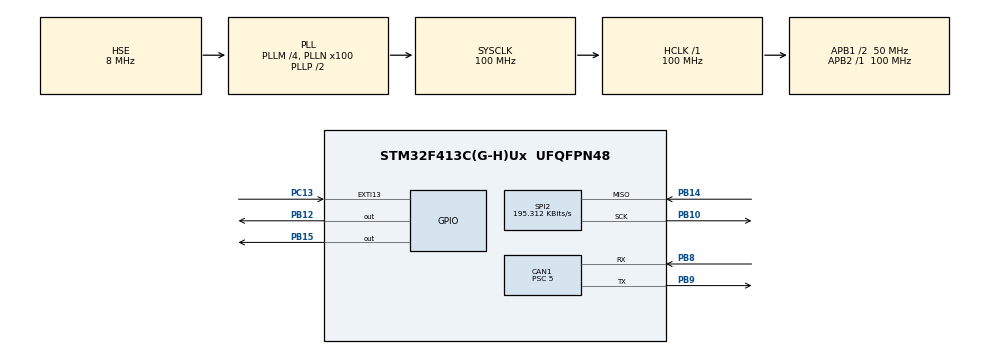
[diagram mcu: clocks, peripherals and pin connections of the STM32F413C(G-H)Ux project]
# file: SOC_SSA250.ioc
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CAN1.ABOM=ENABLE
CAN1.AWUM=DISABLE
CAN1.BS1=CAN_BS1_15TQ
CAN1.BS2=CAN_BS2_4TQ
CAN1.CalculateBaudRate=500000
CAN1.CalculateTimeBit=2000
CAN1.CalculateTimeQuantum=100.0
CAN1.NART=DISABLE
CAN1.Prescaler=5
Mcu.Family=STM32F4
Mcu.Name=STM32F413C(G-H)Ux
Mcu.Package=UFQFPN48
NVIC.CAN1_RX0_IRQn=true\:3\:0\:true\:false\:true\:true\:true\:true
NVIC.EXTI15_10_IRQn=true\:5\:0\:true\:false\:true\:true\:true\:true
NVIC.PriorityGroup=NVIC_PRIORITYGROUP_4
NVIC.TIM3_IRQn=true\:0\:0\:false\:false\:true\:true\:true\:true
NVIC.TIM6_DAC_IRQn=true\:0\:0\:true\:false\:true\:true\:true\:true
NVIC.TIM7_IRQn=true\:3\:0\:true\:false\:true\:true\:true\:true
PA13.Mode=Serial_Wire
PA13.Signal=SYS_JTMS-SWDIO
PA14.Mode=Serial_Wire
PA14.Signal=SYS_JTCK-SWCLK
PB10.Mode=RX_Only_Simplex_Unidirect_Master
PB10.Signal=SPI2_SCK
PB12.GPIO_Speed=GPIO_SPEED_FREQ_VERY_HIGH
PB12.Signal=GPIO_Output
PB14.Mode=RX_Only_Simplex_Unidirect_Master
PB14.Signal=SPI2_MISO
PB15.GPIO_Speed=GPIO_SPEED_FREQ_VERY_HIGH
PB15.Signal=GPIO_Output
PB8.GPIO_Speed=GPIO_SPEED_FREQ_VERY_HIGH
PB8.Mode=CAN_Activate
PB8.Signal=CAN1_RX
PB9.Mode=CAN_Activate
PB9.Signal=CAN1_TX
PC13.GPIO_ModeDefaultEXTI=GPIO_MODE_IT_FALLING
PC13.Signal=GPXTI13
PH0\ -\ OSC_IN.Mode=HSE-External-Oscillator
PH0\ -\ OSC_IN.Signal=RCC_OSC_IN
PH1\ -\ OSC_OUT.Mode=HSE-External-Oscillator
PH1\ -\ OSC_OUT.Signal=RCC_OSC_OUT
ProjectManager.HeapSize=0x200
ProjectManager.StackSize=0x400
ProjectManager.TargetToolchain=STM32CubeIDE
RCC.AHBFreq_Value=100000000
RCC.APB1CLKDivider=RCC_HCLK_DIV2
RCC.APB1Freq_Value=50000000
RCC.APB1TimFreq_Value=100000000
RCC.APB2Freq_Value=100000000
RCC.APB2TimFreq_Value=100000000
RCC.CortexFreq_Value=100000000
RCC.HCLKFreq_Value=100000000
RCC.HSE_VALUE=8000000
RCC.PLLM=4
RCC.PLLN=100
RCC.PLLSourceVirtual=RCC_PLLSOURCE_HSE
RCC.SYSCLKFreq_VALUE=100000000
RCC.SYSCLKSource=RCC_SYSCLKSOURCE_PLLCLK
RCC.USBFreq_Value=100000000
RCC.VCOOutputFreq_Value=200000000
SPI2.BaudRatePrescaler=SPI_BAUDRATEPRESCALER_256
SPI2.CLKPhase=SPI_PHASE_2EDGE
SPI2.CalculateBaudRate=195.312 KBits/s
SPI2.DataSize=SPI_DATASIZE_8BIT
SPI2.Direction=SPI_DIRECTION_2LINES_RXONLY
SPI2.Mode=SPI_MODE_MASTER
SPI2.VirtualType=VM_MASTER
TIM3.Period=500-1
TIM3.Prescaler=1000-1
TIM6.Period=180-1
TIM6.Prescaler=100-1
TIM6.TIM_MasterOutputTrigger=TIM_TRGO_RESET
TIM7.Period=100-1
TIM7.Prescaler=10000-1
VP_TIM3_VS_ClockSourceINT.Mode=Internal
VP_TIM6_VS_ClockSourceINT.Mode=Enable_Timer
VP_TIM7_VS_ClockSourceINT.Mode=Enable_Timer
board=custom

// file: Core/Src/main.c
/* USER CODE BEGIN Header */
/**
  ******************************************************************************
  * @file           : main.c
  * @brief          : Main program body
  ******************************************************************************
  * @attention
  *
  * Copyright (c) 2023 STMicroelectronics.
  * All rights reserved.
  *
  * This software is licensed under terms that can be found in the LICENSE file
  * in the root directory of this software component.
  * If no LICENSE file comes with this software, it is provided AS-IS.
  *
  ******************************************************************************
  */
/* USER CODE END Header */
#include "main.h"

/* USER CODE BEGIN Includes */
#include "stdlib.h"
#include "math.h"

/* USER CODE END Includes */

/* USER CODE BEGIN PTD */
typedef struct __Sep_int_dec
{
	uint8_t integer;
	uint8_t decimal;
}Sep_int_dec;

/* USER CODE END PTD */

/* USER CODE BEGIN PD */
#define NSS_HIGH() HAL_GPIO_WritePin(GPIOB, GPIO_PIN_12, GPIO_PIN_SET)
#define NSS_LOW() HAL_GPIO_WritePin(GPIOB, GPIO_PIN_12, GPIO_PIN_RESET)

/* USER CODE END PD */

/* USER CODE BEGIN PM */
CAN_TxHeaderTypeDef TxHeader;
uint8_t TxData[8] = {0};
uint32_t TxMailbox; //CAN controller to send data to the CAN bus -> transmits data according to the CAN protocol

CAN_RxHeaderTypeDef RxHeader;
uint8_t RxData[8] = {0};

CAN_FilterTypeDef CAN_Filter;

/* USER CODE END PM */

CAN_HandleTypeDef hcan1;

SPI_HandleTypeDef hspi2;

TIM_HandleTypeDef htim3;
TIM_HandleTypeDef htim6;
TIM_HandleTypeDef htim7;

/* USER CODE BEGIN PV */
uint8_t flag, flag_CAN, flag_cal, count;
uint8_t dt, i, delayCount = 20, E_ADC_buffer[3] = {0};
uint32_t time[2] = {0}, ADC18_Data, Sum, sample[250] = {0}, sample_data;
float SOC = 100, Rated_cap = 4300 * 6; //Battery rated capacity(mAh)
uint8_t len = sizeof(sample) / sizeof(uint32_t), Peak_Current;
double Current, Colomb_count, val[2] = {0}, integral_val; //Integral sum[0] : ADC1, Integral sum[1] : ADC2
uint8_t CAN_state;
uint32_t CAN_error;
Sep_int_dec SOC_CAN, Current_CAN;

/* USER CODE END PV */

void SystemClock_Config(void);
static void MX_GPIO_Init(void);
static void MX_CAN1_Init(void);
static void MX_TIM6_Init(void);
static void MX_SPI2_Init(void);
static void MX_TIM7_Init(void);
static void MX_TIM3_Init(void);
/* USER CODE BEGIN PFP */
uint16_t Cal_dt(uint32_t t1, uint32_t t2);
uint32_t Moving_avg(uint32_t *ptr_arr_sample, uint32_t *ptr_sum, uint8_t i, uint8_t len, uint32_t n_data); //Moving average filter
void Seperation_int_and_dec(float num, Sep_int_dec *ptr_Data_CAN);
float Sel_ADC_Ch(uint16_t *adc_val);
double Round_dw(double data);
void E_ADC_SET(void);
void E_ADC_CNV(volatile uint8_t delayCount);
void E_ADC_S_D(void);
void E_ADC_W_U(void);
void CAN_TX_Config(void);
void CAN_Filter_Config(void);

/* USER CODE END PFP */

/* USER CODE BEGIN 0 */
void HAL_GPIO_EXTI_Callback(uint16_t GPIO_Pin); //External interrupt
void HAL_CAN_RxFifo0MsgPendingCallback(CAN_HandleTypeDef *hcan);
void HAL_TIM_PeriodElapsedCallback(TIM_HandleTypeDef *htim); //ADC1 - timer3(1ms) & timer4(10ms) - Moving average filter

/* USER CODE END 0 */

int main(void)
{
  /* USER CODE BEGIN 1 */
	CAN_Filter_Config();
	CAN_TX_Config();

  /* USER CODE END 1 */

  /* MCU Configuration--------------------------------------------------------*/

  /* Reset of all peripherals, Initializes the Flash interface and the Systick. */
  HAL_Init();

  /* Configure the system clock */
  SystemClock_Config();

  /* Initialize all configured peripherals */
  MX_GPIO_Init();
  MX_CAN1_Init();
  MX_TIM6_Init();
  MX_SPI2_Init();
  MX_TIM7_Init();
  MX_TIM3_Init();
  /* USER CODE BEGIN 2 */
  //---CAN setting---//
  HAL_CAN_ConfigFilter(&hcan1, &CAN_Filter);
  HAL_CAN_ActivateNotification(&hcan1, CAN_IT_RX_FIFO0_MSG_PENDING); //CAN Rx interrupt activation
  HAL_CAN_Start(&hcan1);

  //---DMA mode ADC---//
  HAL_Delay(10);
  E_ADC_SET();
  HAL_Delay(10);
  HAL_TIM_Base_Start_IT(&htim6); //Current
  HAL_TIM_Base_Start_IT(&htim7); //Colomb count
  HAL_TIM_Base_Start_IT(&htim3); //CAN
  HAL_Delay(1000);
  /* USER CODE END 2 */

  /* Infinite loop */
  while (1)
  {

    /* USER CODE BEGIN 3 */

	  switch(flag)
	  {
	  case 1:
		  HAL_NVIC_DisableIRQ(CAN1_RX0_IRQn);
		  HAL_NVIC_DisableIRQ(TIM3_IRQn);

		  E_ADC_CNV(delayCount);
		  sample_data = Moving_avg(sample, &Sum, i, len, ADC18_Data);
		  Current = Round_dw(((double)sample_data - 41735) / 845.8 + 0.01) - 0.03;
		  i++; //i : 0 ~ len-1 -> (odd - even)
		  if(i >= len) i = 0;

		  if(Peak_Current < Current_CAN.integer) Peak_Current = Current_CAN.integer;
		  //if((signed int)round(Current) >= Peak_Current) Peak_Current = (signed int)round(Current);

		  HAL_NVIC_EnableIRQ(CAN1_RX0_IRQn);
		  HAL_NVIC_EnableIRQ(TIM3_IRQn);
		  flag = 0;
		  break;
	  }

	  //---Colomb_counting : ADC1(Timer3)---//
	  switch(RxData[0])
	  {
	  case 6:
		  if(flag_cal == 1)
		  {
			  if(count % 2 == 0) val[0] = Current, time[0] = HAL_GetTick();
			  else val[1] = Current, time[1] = HAL_GetTick();
			  dt = Cal_dt(time[0], time[1]);

			  integral_val = ((val[0] + val[1]) * dt) / 7200; //(mAh)
			  Colomb_count += integral_val;
			  SOC = (Rated_cap - Colomb_count) / Rated_cap * 100; //State of charge - SOC(%)

			  count++;
			  if(count >= len) count = 0;

			  flag_cal = 0;
		  }
		  break;
	  }

	  //---CAN---//
	  switch(flag_CAN)
	  {
	  case 1:
		  Seperation_int_and_dec(SOC, &SOC_CAN);
		  Seperation_int_and_dec(Current, &Current_CAN);

		  TxData[0] = SOC_CAN.integer;
		  TxData[1] = SOC_CAN.decimal;
		  TxData[2] = Current_CAN.integer;
		  TxData[3] = Current_CAN.decimal;
		  TxData[4] = Peak_Current;
		  for(int i = 5; i < 8; i++) TxData[i] = 0;

		  TxHeader.StdId = 0x09; //ID of message
		  TxMailbox = HAL_CAN_GetTxMailboxesFreeLevel(&hcan1);
		  HAL_CAN_AddTxMessage(&hcan1, &TxHeader, TxData, &TxMailbox);

		  flag_CAN = 0;
		  break;
	  }
  }
  /* USER CODE END 3 */
}

void SystemClock_Config(void)
{
  RCC_OscInitTypeDef RCC_OscInitStruct = {0};
  RCC_ClkInitTypeDef RCC_ClkInitStruct = {0};

  /** Configure the main internal regulator output voltage
  */
  __HAL_RCC_PWR_CLK_ENABLE();
  __HAL_PWR_VOLTAGESCALING_CONFIG(PWR_REGULATOR_VOLTAGE_SCALE1);

  /** Initializes the RCC Oscillators according to the specified parameters
  * in the RCC_OscInitTypeDef structure.
  */
  RCC_OscInitStruct.OscillatorType = RCC_OSCILLATORTYPE_HSE;
  RCC_OscInitStruct.HSEState = RCC_HSE_ON;
  RCC_OscInitStruct.PLL.PLLState = RCC_PLL_ON;
  RCC_OscInitStruct.PLL.PLLSource = RCC_PLLSOURCE_HSE;
  RCC_OscInitStruct.PLL.PLLM = 4;
  RCC_OscInitStruct.PLL.PLLN = 100;
  RCC_OscInitStruct.PLL.PLLP = RCC_PLLP_DIV2;
  RCC_OscInitStruct.PLL.PLLQ = 2;
  RCC_OscInitStruct.PLL.PLLR = 2;
  if (HAL_RCC_OscConfig(&RCC_OscInitStruct) != HAL_OK)
  {
    Error_Handler();
  }

  /** Initializes the CPU, AHB and APB buses clocks
  */
  RCC_ClkInitStruct.ClockType = RCC_CLOCKTYPE_HCLK|RCC_CLOCKTYPE_SYSCLK
                              |RCC_CLOCKTYPE_PCLK1|RCC_CLOCKTYPE_PCLK2;
  RCC_ClkInitStruct.SYSCLKSource = RCC_SYSCLKSOURCE_PLLCLK;
  RCC_ClkInitStruct.AHBCLKDivider = RCC_SYSCLK_DIV1;
  RCC_ClkInitStruct.APB1CLKDivider = RCC_HCLK_DIV2;
  RCC_ClkInitStruct.APB2CLKDivider = RCC_HCLK_DIV1;

  if (HAL_RCC_ClockConfig(&RCC_ClkInitStruct, FLASH_LATENCY_3) != HAL_OK)
  {
    Error_Handler();
  }
}

static void MX_CAN1_Init(void)
{

  hcan1.Instance = CAN1;
  hcan1.Init.Prescaler = 5;
  hcan1.Init.Mode = CAN_MODE_NORMAL;
  hcan1.Init.SyncJumpWidth = CAN_SJW_1TQ;
  hcan1.Init.TimeSeg1 = CAN_BS1_15TQ;
  hcan1.Init.TimeSeg2 = CAN_BS2_4TQ;
  hcan1.Init.TimeTriggeredMode = DISABLE;
  hcan1.Init.AutoBusOff = ENABLE;
  hcan1.Init.AutoWakeUp = DISABLE;
  hcan1.Init.AutoRetransmission = DISABLE;
  hcan1.Init.ReceiveFifoLocked = DISABLE;
  hcan1.Init.TransmitFifoPriority = DISABLE;
  if (HAL_CAN_Init(&hcan1) != HAL_OK)
  {
    Error_Handler();
  }

}

static void MX_SPI2_Init(void)
{

  /* SPI2 parameter configuration*/
  hspi2.Instance = SPI2;
  hspi2.Init.Mode = SPI_MODE_MASTER;
  hspi2.Init.Direction = SPI_DIRECTION_2LINES_RXONLY;
  hspi2.Init.DataSize = SPI_DATASIZE_8BIT;
  hspi2.Init.CLKPolarity = SPI_POLARITY_LOW;
  hspi2.Init.CLKPhase = SPI_PHASE_2EDGE;
  hspi2.Init.NSS = SPI_NSS_SOFT;
  hspi2.Init.BaudRatePrescaler = SPI_BAUDRATEPRESCALER_256;
  hspi2.Init.FirstBit = SPI_FIRSTBIT_MSB;
  hspi2.Init.TIMode = SPI_TIMODE_DISABLE;
  hspi2.Init.CRCCalculation = SPI_CRCCALCULATION_DISABLE;
  hspi2.Init.CRCPolynomial = 10;
  if (HAL_SPI_Init(&hspi2) != HAL_OK)
  {
    Error_Handler();
  }

}

static void MX_TIM3_Init(void)
{

  TIM_ClockConfigTypeDef sClockSourceConfig = {0};
  TIM_MasterConfigTypeDef sMasterConfig = {0};

  htim3.Instance = TIM3;
  htim3.Init.Prescaler = 1000-1;
  htim3.Init.CounterMode = TIM_COUNTERMODE_UP;
  htim3.Init.Period = 500-1;
  htim3.Init.ClockDivision = TIM_CLOCKDIVISION_DIV1;
  htim3.Init.AutoReloadPreload = TIM_AUTORELOAD_PRELOAD_DISABLE;
  if (HAL_TIM_Base_Init(&htim3) != HAL_OK)
  {
    Error_Handler();
  }
  sClockSourceConfig.ClockSource = TIM_CLOCKSOURCE_INTERNAL;
  if (HAL_TIM_ConfigClockSource(&htim3, &sClockSourceConfig) != HAL_OK)
  {
    Error_Handler();
  }
  sMasterConfig.MasterOutputTrigger = TIM_TRGO_RESET;
  sMasterConfig.MasterSlaveMode = TIM_MASTERSLAVEMODE_DISABLE;
  if (HAL_TIMEx_MasterConfigSynchronization(&htim3, &sMasterConfig) != HAL_OK)
  {
    Error_Handler();
  }

}

static void MX_TIM6_Init(void)
{

  TIM_MasterConfigTypeDef sMasterConfig = {0};

  htim6.Instance = TIM6;
  htim6.Init.Prescaler = 100-1;
  htim6.Init.CounterMode = TIM_COUNTERMODE_UP;
  htim6.Init.Period = 180-1;
  htim6.Init.AutoReloadPreload = TIM_AUTORELOAD_PRELOAD_DISABLE;
  if (HAL_TIM_Base_Init(&htim6) != HAL_OK)
  {
    Error_Handler();
  }
  sMasterConfig.MasterOutputTrigger = TIM_TRGO_RESET;
  sMasterConfig.MasterSlaveMode = TIM_MASTERSLAVEMODE_DISABLE;
  if (HAL_TIMEx_MasterConfigSynchronization(&htim6, &sMasterConfig) != HAL_OK)
  {
    Error_Handler();
  }

}

static void MX_TIM7_Init(void)
{

  TIM_MasterConfigTypeDef sMasterConfig = {0};

  htim7.Instance = TIM7;
  htim7.Init.Prescaler = 10000-1;
  htim7.Init.CounterMode = TIM_COUNTERMODE_UP;
  htim7.Init.Period = 100-1;
  htim7.Init.AutoReloadPreload = TIM_AUTORELOAD_PRELOAD_DISABLE;
  if (HAL_TIM_Base_Init(&htim7) != HAL_OK)
  {
    Error_Handler();
  }
  sMasterConfig.MasterOutputTrigger = TIM_TRGO_RESET;
  sMasterConfig.MasterSlaveMode = TIM_MASTERSLAVEMODE_DISABLE;
  if (HAL_TIMEx_MasterConfigSynchronization(&htim7, &sMasterConfig) != HAL_OK)
  {
    Error_Handler();
  }

}

static void MX_GPIO_Init(void)
{
  GPIO_InitTypeDef GPIO_InitStruct = {0};

  /* GPIO Ports Clock Enable */
  __HAL_RCC_GPIOC_CLK_ENABLE();
  __HAL_RCC_GPIOH_CLK_ENABLE();
  __HAL_RCC_GPIOB_CLK_ENABLE();
  __HAL_RCC_GPIOA_CLK_ENABLE();

  /*Configure GPIO pin Output Level */
  HAL_GPIO_WritePin(GPIOB, GPIO_PIN_12|GPIO_PIN_15, GPIO_PIN_RESET);

  /*Configure GPIO pin : PC13 */
  GPIO_InitStruct.Pin = GPIO_PIN_13;
  GPIO_InitStruct.Mode = GPIO_MODE_IT_FALLING;
  GPIO_InitStruct.Pull = GPIO_NOPULL;
  HAL_GPIO_Init(GPIOC, &GPIO_InitStruct);

  /*Configure GPIO pins : PB12 PB15 */
  GPIO_InitStruct.Pin = GPIO_PIN_12|GPIO_PIN_15;
  GPIO_InitStruct.Mode = GPIO_MODE_OUTPUT_PP;
  GPIO_InitStruct.Pull = GPIO_NOPULL;
  GPIO_InitStruct.Speed = GPIO_SPEED_FREQ_VERY_HIGH;
  HAL_GPIO_Init(GPIOB, &GPIO_InitStruct);

  /* EXTI interrupt init*/
  HAL_NVIC_SetPriority(EXTI15_10_IRQn, 5, 0);
  HAL_NVIC_EnableIRQ(EXTI15_10_IRQn);

}

/* USER CODE BEGIN 4 */
void HAL_GPIO_EXTI_Callback(uint16_t GPIO_Pin) //External interrupt
{
	flag_cal++;
	HAL_GPIO_TogglePin(GPIOA, GPIO_PIN_8);
}

void HAL_CAN_RxFifo0MsgPendingCallback(CAN_HandleTypeDef *hcan)
{
	HAL_CAN_GetRxMessage(&hcan1, CAN_RX_FIFO0, &RxHeader, RxData);
}

uint16_t Cal_dt(uint32_t t1, uint32_t t2) //Time interval calculation
{
	uint16_t dt = 0;
	dt = abs(t2 - t1);
	if(dt > 100) dt = 0; //Initial value clearing(Initial condition setting & Overflow processing)
	return dt;
}

void HAL_TIM_PeriodElapsedCallback(TIM_HandleTypeDef *htim) //ADC1 - timer3(1ms) & timer4(10ms) - Moving average filter
{
	if(htim->Instance == TIM6) flag = 1;
	else if(htim->Instance == TIM7) flag_CAN = 1;
	else if(htim->Instance == TIM3) flag_cal = 1;
}

uint32_t Moving_avg(uint32_t *ptr_arr_sample, uint32_t *ptr_sum, uint8_t i, uint8_t len, uint32_t n_data) //Moving average filter
{
	*ptr_sum = *ptr_sum - ptr_arr_sample[i] + n_data; //sample[i] : old data, n_data : new data
	ptr_arr_sample[i] = n_data; //Data freshening
	return *ptr_sum / len; //##Filtered real-time data##
}

void Seperation_int_and_dec(float num, Sep_int_dec *ptr_Data_CAN)
{
	ptr_Data_CAN -> integer = (uint8_t)num;
	ptr_Data_CAN -> decimal = (uint8_t)((num - (uint8_t)num) * 100);
}

float Sel_ADC_Ch(uint16_t *adc_val)
{
	uint32_t result = 0;
	float Current = 0;

	for(int ch = 2; ch >= 0; ch--)
	{
		if(adc_val[ch] < 4080)
		{
			result = adc_val[ch];
			break;
		}
	}
	if(result == adc_val[0]) result = ADC18_Data;

	if(result == adc_val[2]) Current = (float)(result - 2140) / 100;
	else if(result == adc_val[1]) Current = (float)(result - 2070) / 20;
	else Current = (float)(result - 2050) / 4.1;

	return Current;
}

double Round_dw(double data)
{
	double result = 0;
	return result = round(data * 100) / 100;
}

void E_ADC_SET(void)
{
	HAL_GPIO_WritePin(GPIOB, GPIO_PIN_15, GPIO_PIN_SET); //SDI -> pull-up
	HAL_Delay(1);
	NSS_HIGH();
}
void E_ADC_CNV(volatile uint8_t delayCount)
{
	NSS_LOW();
	HAL_SPI_Receive(&hspi2, (uint8_t *)E_ADC_buffer, 1, HAL_MAX_DELAY);
	HAL_SPI_Receive(&hspi2, (uint8_t *)&E_ADC_buffer[1], 1, HAL_MAX_DELAY);
	HAL_SPI_Receive(&hspi2, (uint8_t *)&E_ADC_buffer[2], 1, HAL_MAX_DELAY);
	NSS_HIGH();
	for(uint32_t i = 0; i < delayCount; i++)
	{
			 //tconv delay
	}

	E_ADC_buffer[2] = E_ADC_buffer[2] >> 6;
	ADC18_Data = E_ADC_buffer[0] << 10 | E_ADC_buffer[1] << 2 | E_ADC_buffer[2];
}
void E_ADC_S_D(void)
{
	HAL_SPI_DeInit(&hspi2);

	GPIO_InitTypeDef GPIO_InitStruct = {0};
	GPIO_InitStruct.Pin = GPIO_PIN_10;
	GPIO_InitStruct.Mode = GPIO_MODE_OUTPUT_PP;
	GPIO_InitStruct.Pull = GPIO_NOPULL;
	GPIO_InitStruct.Speed = GPIO_SPEED_FREQ_HIGH;

	HAL_GPIO_Init(GPIOB, &GPIO_InitStruct); //SCK -> GPIO control

	NSS_HIGH();
	HAL_GPIO_WritePin(GPIOB, GPIO_PIN_10, GPIO_PIN_SET); //SCK -> HIGH;
	HAL_Delay(1);
	NSS_LOW(); //shut-down
	HAL_GPIO_WritePin(GPIOB, GPIO_PIN_15, GPIO_PIN_RESET); //SDI -> pull-down
}
void E_ADC_W_U(void)
{
	HAL_SPI_Init(&hspi2); //SCK -> LOW
	HAL_GPIO_WritePin(GPIOB, GPIO_PIN_15, GPIO_PIN_SET); //SDI -> pull-up
	NSS_HIGH(); //CS mode
	HAL_Delay(1);
	NSS_LOW(); //wake-up
	NSS_HIGH();
}

void CAN_TX_Config(void)
{
	TxHeader.DLC = 8;
	TxHeader.IDE = CAN_ID_STD; //2.0A
	TxHeader.RTR = CAN_RTR_DATA;
	TxHeader.TransmitGlobalTime = DISABLE;
}

void CAN_Filter_Config(void)
{
	CAN_Filter.FilterActivation = ENABLE; //Filter : Enable -> message reception
	CAN_Filter.FilterIdHigh = 0x0AA << 5;
	CAN_Filter.FilterIdLow = 0x0AA << 5;
	CAN_Filter.FilterMaskIdHigh = 0x00 << 5;
	CAN_Filter.FilterMaskIdLow = 0x00 << 5;
	CAN_Filter.FilterScale = CAN_FILTERSCALE_16BIT; //2.0A -> 16Bit, 2.0B -> 32Bit
	CAN_Filter.FilterBank = 0;
	CAN_Filter.FilterFIFOAssignment = CAN_RX_FIFO0;
	CAN_Filter.FilterMode = CAN_FILTERMODE_IDLIST;
}

/* USER CODE END 4 */

void Error_Handler(void)
{
  __disable_irq();
  while (1)
  {
  }
}
